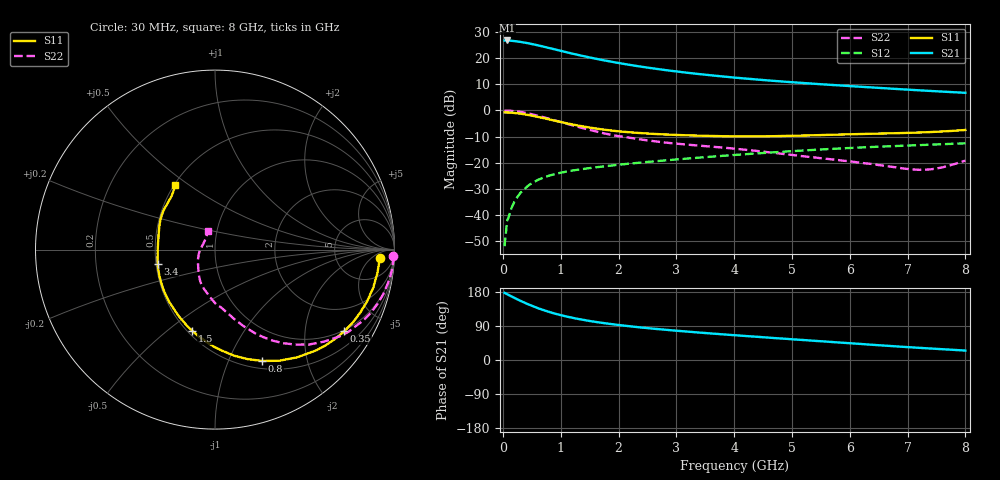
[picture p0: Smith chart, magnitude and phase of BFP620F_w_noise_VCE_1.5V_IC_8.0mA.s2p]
! Infineon Technologies  Discrete & RF Semiconductors
! BFP620F
! VCE =  1.5 V,  IC =  8.0 mA
! Common Emitter S-Parameters:  Dec 2014
# GHz  S  MA  R  50
!  f  S11  S21  S12  S22
! GHz  MAG  ANG  MAG  ANG  MAG  ANG  MAG  ANG
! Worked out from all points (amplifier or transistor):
!   95 points, 30 MHz to 8 GHz, reference 50 ohm
!   highest |S21| = 26.8 dB at 70 MHz (marker M1)
!   |S21| within 3 dB of that: start of sweep to 819.3 MHz
!   unconditionally stable (mu >= 1): 4.376 GHz to end of sweep
!   at 300 MHz: K = 0.12, MSG = 29.0 dB, |S12| = -31.7 dB
!   at 3.3 GHz: K = 0.93, MSG = 16.2 dB, |S12| = -18.3 dB
!   at 8 GHz: K = 1.10, MAG = 7.8 dB, |S12| = -12.6 dB
!   lowest NFmin = 0.56 dB at 450 MHz
!   S11 on the Smith chart (normalised r, x): 30 MHz: 18, -10; 350 MHz: 0.96, -3.19; 800 MHz: 0.59, -1.34; 1.5 GHz: 0.53, -0.62; 3.4 GHz: 0.51, -0.09; 8 GHz: 0.51, +0.44
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0.03  0.9182 -2.8  21.96 177.2  0.0025 86.4  0.994 -2.2
0.07  0.915 -6.7  21.99 174.1  0.0073 84.8  0.9934 -5.1
0.2  0.8949 -18.9  21.36 164.0  0.0179 81.4  0.97 -14.8
0.25  0.8818 -23.5  21.03 160.1  0.0219 77.5  0.9548 -18.4
0.35  0.8518 -32.3  20.16 153.0  0.0296 73.4  0.918 -25.2
0.45  0.8157 -40.8  19.29 146.2  0.037 69.7  0.8736 -31.6
0.6  0.7542 -52.8  17.8 137.1  0.0463 64.2  0.7947 -40.2
0.7  0.7146 -60.1  16.77 131.8  0.0515 61.2  0.7441 -45.3
0.8  0.674 -67.0  15.75 126.9  0.0561 58.7  0.6929 -49.8
0.9  0.6361 -73.5  14.82 122.4  0.0603 56.7  0.6453 -53.9
1.1  0.5682 -85.3  13.09 114.7  0.0673 53.2  0.5585 -61.0
1.4  0.4925 -100.7  10.98 105.7  0.0758 50.2  0.4533 -69.7
1.5  0.4697 -105.5  10.39 103.0  0.0785 49.4  0.4239 -72.2
1.7  0.4354 -114.4  9.367 98.4  0.0835 48.4  0.3742 -77.2
2  0.3982 -126.3  8.136 92.4  0.0909 47.0  0.3214 -84.5
2.4  0.3674 -140.1  6.893 85.6  0.1006 45.6  0.2763 -93.8
2.7  0.3512 -148.9  6.182 81.3  0.1076 44.7  0.2504 -99.2
3.4  0.3283 -166.2  4.982 72.3  0.1248 42.8  0.2115 -110.3
4.1  0.319 179.5  4.18 64.4  0.1424 40.4  0.1807 -118.5
5.4  0.3351 157.9  3.242 50.5  0.176 34.5  0.1254 -139.0
6.7  0.3642 139.2  2.627 37.0  0.206 27.0  0.0838 -177.2
8  0.4224 121.7  2.179 24.8  0.2342 19.6  0.1093 110.7
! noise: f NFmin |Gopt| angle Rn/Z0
0.45  0.56  0.34  9  0.24
0.9  0.63  0.3  19  0.21
1.5  0.69  0.28  22  0.17
1.8  0.72  0.26  25  0.16
1.9  0.73  0.21  39  0.18
2.4  0.78  0.19  54  0.16
3.5  0.89  0.18  74  0.13
5.5  1.07  0.13  168  0.11
6  1.11  0.1  192  0.19
